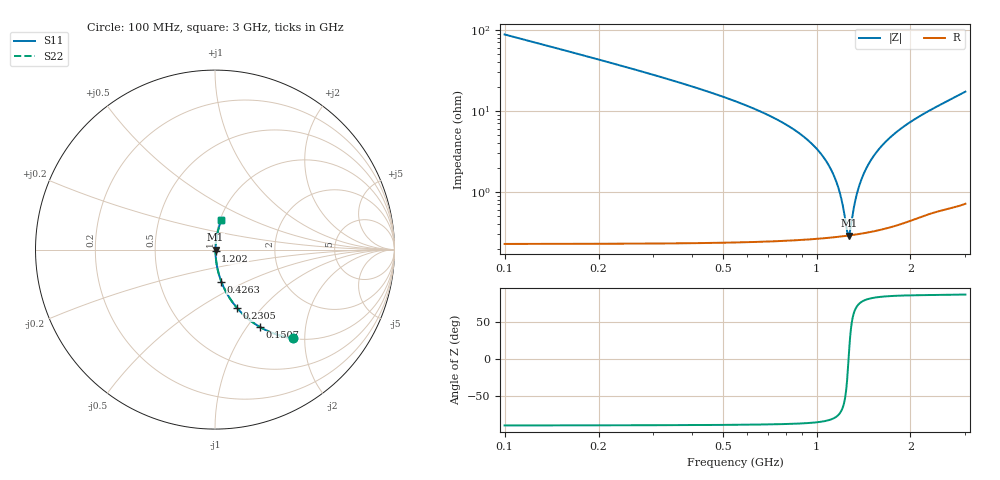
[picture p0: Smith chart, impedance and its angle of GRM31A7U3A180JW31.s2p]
!Murata Part Number: GRM31A7U3A180JW31
!These Parameters are Measured in Series Mode Connection
!Data Generated on Mar 30, 2021
!  o--ll--o
!Port1  Port2
!  o------o
!Operation Temp=25[degC], DC Bias Voltage=0[V]
!Freq. Start=100[MHz] Stop=3[GHz] 401[Steps]
# Hz S RI R 50
!Freq.(Hz) S11(Real) S11(Imag) S21(Real) S21(Imag) S12(Real) S12(Imag) S22(Real) S22(Imag)
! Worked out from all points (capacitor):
!   401 points, 100 MHz to 3 GHz, reference 50 ohm
!   read as one part in series: C = 18 pF near 114.5 MHz
!   lowest |Z| = 289 mohm at 1.267 GHz (marker M1)
!   series resonance near 1.267 GHz, so ESL is about 880 pH
!   S11 on the Smith chart (normalised r, x): 100 MHz: 1.00, -1.76; 150.8 MHz: 1.00, -1.16; 230.5 MHz: 1.00, -0.74; 426.2 MHz: 1.00, -0.37; 1.202 GHz: 1.01, -0.02; 3 GHz: 1.01, +0.35
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1e8  0.436 -0.4946  0.564 0.4946  0.564 0.4946  0.436 -0.4946
1.5075e8  0.2516 -0.432  0.7484 0.432  0.7484 0.432  0.2516 -0.432
2.305e8  0.1227 -0.3251  0.8773 0.3251  0.8773 0.3251  0.1227 -0.3251
3.1025e8  0.0691 -0.2494  0.9309 0.2494  0.9309 0.2494  0.0691 -0.2494
4.2625e8  0.0351 -0.1779  0.9649 0.1779  0.9649 0.1779  0.0351 -0.1779
5.8575e8  0.0164 -0.1174  0.9836 0.1174  0.9836 0.1174  0.0164 -0.1174
8.9025e8  0.00514 -0.0508  0.9949 0.0508  0.9949 0.0508  0.00514 -0.0508
9.9175e8  0.00385 -0.0351  0.9961 0.0351  0.9961 0.0351  0.00385 -0.0351
1.0715e9  0.00326 -0.024  0.9967 0.024  0.9967 0.024  0.00326 -0.024
1.144e9  0.00297 -0.0146  0.997 0.0146  0.997 0.0146  0.00297 -0.0146
1.202e9  0.00287 -0.00753  0.9971 0.00753  0.9971 0.00753  0.00287 -0.00753
1.25275e9  0.00287 -0.00158  0.9971 0.00158  0.9971 0.00158  0.00287 -0.00158
1.26725e9  0.00288 8.3e-05  0.9971 -8.3e-05  0.9971 -8.3e-05  0.00288 8.3e-05
1.28175e9  0.0029 0.00173  0.9971 -0.00173  0.9971 -0.00173  0.0029 0.00173
1.3325e9  0.00302 0.00737  0.997 -0.00737  0.997 -0.00737  0.00302 0.00737
1.38325e9  0.0032 0.0128  0.9968 -0.0128  0.9968 -0.0128  0.0032 0.0128
1.45575e9  0.00356 0.0204  0.9964 -0.0204  0.9964 -0.0204  0.00356 0.0204
1.55e9  0.00419 0.0299  0.9958 -0.0299  0.9958 -0.0299  0.00419 0.0299
1.753e9  0.00616 0.0494  0.9938 -0.0494  0.9938 -0.0494  0.00616 0.0494
2.03575e9  0.0102 0.0752  0.9898 -0.0752  0.9898 -0.0752  0.0102 0.0752
2.5215e9  0.0203 0.1187  0.9797 -0.1187  0.9797 -0.1187  0.0203 0.1187
3e9  0.0355 0.1655  0.9645 -0.1655  0.9645 -0.1655  0.0355 0.1655
